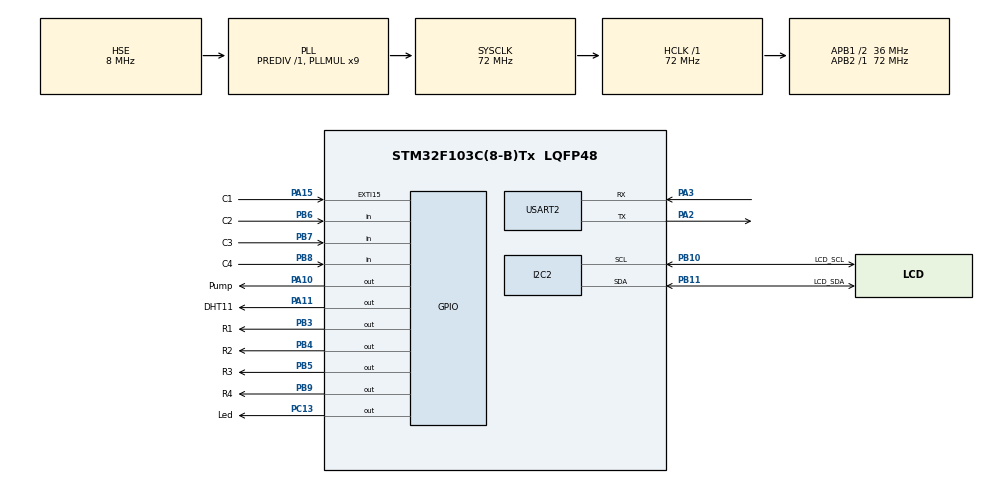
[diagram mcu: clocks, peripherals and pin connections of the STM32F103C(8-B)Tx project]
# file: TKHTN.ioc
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FREERTOS.BinarySemaphores01=TempHumid,Dynamic,NULL
FREERTOS.CountingSemaphores01=DataSem,2,Dynamic,NULL;ComSem,2,Dynamic,NULL
FREERTOS.Events01=Interrupt,Dynamic,NULL;pumpEvent,Dynamic,NULL
FREERTOS.Tasks01=sendCloud,16,256,sendCloudHandler,Default,NULL,Dynamic,NULL,NULL;ReadDataTaskHan,33,256,ReadDataTask,Default,NULL,Dynamic,NULL,NULL;DisplayTaskHand,16,256,DisplayTask,Default,NULL,Dynamic,NULL,NULL;HandleInterupt,40,512,HandleISP,Default,NULL,Dynamic,NULL,NULL;pumpControlHand,39,128,pumpControl,Default,NULL,Dynamic,NULL,NULL
FREERTOS.configTOTAL_HEAP_SIZE=8096
FREERTOS.configUSE_NEWLIB_REENTRANT=1
Mcu.Family=STM32F1
Mcu.Name=STM32F103C(8-B)Tx
Mcu.Package=LQFP48
NVIC.EXTI15_10_IRQn=true\:5\:0\:false\:false\:true\:true\:true\:true\:true
NVIC.PriorityGroup=NVIC_PRIORITYGROUP_4
NVIC.TIM3_IRQn=true\:15\:0\:false\:false\:true\:false\:false\:true\:true
NVIC.TimeBase=TIM3_IRQn
NVIC.TimeBaseIP=TIM3
PA10.GPIO_Label=Pump
PA10.Signal=GPIO_Output
PA11.GPIO_Label=DHT11
PA11.Signal=GPIO_Output
PA13.Mode=Serial_Wire
PA13.Signal=SYS_JTMS-SWDIO
PA14.Mode=Serial_Wire
PA14.Signal=SYS_JTCK-SWCLK
PA15.GPIO_Label=C1
PA15.GPIO_ModeDefaultEXTI=GPIO_MODE_IT_RISING
PA15.GPIO_PuPd=GPIO_PULLDOWN
PA15.Signal=GPXTI15
PA2.Mode=Asynchronous
PA2.Signal=USART2_TX
PA3.Mode=Asynchronous
PA3.Signal=USART2_RX
PB10.GPIO_Label=LCD_SCL
PB10.Mode=I2C
PB10.Signal=I2C2_SCL
PB11.GPIO_Label=LCD_SDA
PB11.Mode=I2C
PB11.Signal=I2C2_SDA
PB3.GPIO_Label=R1
PB3.GPIO_ModeDefaultOutputPP=GPIO_MODE_OUTPUT_PP
PB3.PinState=GPIO_PIN_SET
PB3.Signal=GPIO_Output
PB4.GPIO_Label=R2
PB4.PinState=GPIO_PIN_RESET
PB4.Signal=GPIO_Output
PB5.GPIO_Label=R3
PB5.Signal=GPIO_Output
PB6.GPIO_Label=C2
PB6.GPIO_PuPd=GPIO_PULLDOWN
PB6.Signal=GPIO_Input
PB7.GPIO_Label=C3
PB7.GPIO_PuPd=GPIO_PULLDOWN
PB7.Signal=GPIO_Input
PB8.GPIO_Label=C4
PB8.GPIO_PuPd=GPIO_PULLDOWN
PB8.Signal=GPIO_Input
PB9.GPIO_Label=R4
PB9.Signal=GPIO_Output
PC13-TAMPER-RTC.GPIO_Label=Led
PC13-TAMPER-RTC.Signal=GPIO_Output
PC14-OSC32_IN.Signal=RCC_OSC32_IN
PC15-OSC32_OUT.Signal=RCC_OSC32_OUT
PD0-OSC_IN.Mode=HSE-External-Oscillator
PD0-OSC_IN.Signal=RCC_OSC_IN
PD1-OSC_OUT.Mode=HSE-External-Oscillator
PD1-OSC_OUT.Signal=RCC_OSC_OUT
ProjectManager.HeapSize=0x200
ProjectManager.StackSize=0x400
ProjectManager.TargetToolchain=STM32CubeIDE
RCC.AHBFreq_Value=72000000
RCC.APB1CLKDivider=RCC_HCLK_DIV2
RCC.APB1Freq_Value=36000000
RCC.APB1TimFreq_Value=72000000
RCC.APB2Freq_Value=72000000
RCC.APB2TimFreq_Value=72000000
RCC.HCLKFreq_Value=72000000
RCC.PLLMUL=RCC_PLL_MUL9
RCC.PLLSourceVirtual=RCC_PLLSOURCE_HSE
RCC.SYSCLKFreq_VALUE=72000000
RCC.SYSCLKSource=RCC_SYSCLKSOURCE_PLLCLK
RCC.USBFreq_Value=72000000
TIM4.Prescaler=72-1
USART2.VirtualMode=VM_ASYNC
VP_FREERTOS_VS_CMSIS_V2.Mode=CMSIS_V2
VP_SYS_VS_tim3.Mode=TIM3
VP_TIM4_VS_ClockSourceINT.Mode=Internal
board=custom

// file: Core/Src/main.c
/* USER CODE BEGIN Header */
/**
  ******************************************************************************
  * @file           : main.c
  * @brief          : Main program body
  ******************************************************************************
  * @attention
  *
  * Copyright (c) 2024 STMicroelectronics.
  * All rights reserved.
  *
  * This software is licensed under terms that can be found in the LICENSE file
  * in the root directory of this software component.
  * If no LICENSE file comes with this software, it is provided AS-IS.
  *
  ******************************************************************************
  */
/* USER CODE END Header */
#include "main.h"
#include "cmsis_os.h"

/* USER CODE BEGIN Includes */
#include "CLCD_I2C.h"
#include "dht11.h"
#include<stdio.h>

/* USER CODE END Includes */

I2C_HandleTypeDef hi2c2;

TIM_HandleTypeDef htim4;

UART_HandleTypeDef huart2;

/* Definitions for sendCloud */
osThreadId_t sendCloudHandle;
const osThreadAttr_t sendCloud_attributes = {
  .name = "sendCloud",
  .stack_size = 256 * 4,
  .priority = (osPriority_t) osPriorityBelowNormal,
};
/* Definitions for ReadDataTaskHan */
osThreadId_t ReadDataTaskHanHandle;
const osThreadAttr_t ReadDataTaskHan_attributes = {
  .name = "ReadDataTaskHan",
  .stack_size = 256 * 4,
  .priority = (osPriority_t) osPriorityAboveNormal1,
};
/* Definitions for DisplayTaskHand */
osThreadId_t DisplayTaskHandHandle;
const osThreadAttr_t DisplayTaskHand_attributes = {
  .name = "DisplayTaskHand",
  .stack_size = 256 * 4,
  .priority = (osPriority_t) osPriorityBelowNormal,
};
/* Definitions for HandleInterupt */
osThreadId_t HandleInteruptHandle;
const osThreadAttr_t HandleInterupt_attributes = {
  .name = "HandleInterupt",
  .stack_size = 512 * 4,
  .priority = (osPriority_t) osPriorityHigh,
};
/* Definitions for pumpControlHand */
osThreadId_t pumpControlHandHandle;
const osThreadAttr_t pumpControlHand_attributes = {
  .name = "pumpControlHand",
  .stack_size = 128 * 4,
  .priority = (osPriority_t) osPriorityAboveNormal7,
};
/* Definitions for TempHumid */
osSemaphoreId_t TempHumidHandle;
const osSemaphoreAttr_t TempHumid_attributes = {
  .name = "TempHumid"
};
/* Definitions for DataSem */
osSemaphoreId_t DataSemHandle;
const osSemaphoreAttr_t DataSem_attributes = {
  .name = "DataSem"
};
/* Definitions for ComSem */
osSemaphoreId_t ComSemHandle;
const osSemaphoreAttr_t ComSem_attributes = {
  .name = "ComSem"
};
/* Definitions for Interrupt */
osEventFlagsId_t InterruptHandle;
const osEventFlagsAttr_t Interrupt_attributes = {
  .name = "Interrupt"
};
/* Definitions for pumpEvent */
osEventFlagsId_t pumpEventHandle;
const osEventFlagsAttr_t pumpEvent_attributes = {
  .name = "pumpEvent"
};

void SystemClock_Config(void);
static void MX_GPIO_Init(void);
static void MX_I2C2_Init(void);
static void MX_TIM4_Init(void);
static void MX_USART2_UART_Init(void);
void sendCloudHandler(void *argument);
void ReadDataTask(void *argument);
void DisplayTask(void *argument);
void HandleISP(void *argument);
void pumpControl(void *argument);

/* USER CODE BEGIN PFP */
uint8_t readbutton1();
uint8_t readbutton2();
uint8_t readbutton3();
void sendTerminal(char* mess,uint8_t length);

CLCD_I2C_Name LCD1;

//HT_Name DHT1;
DHT11_Sensor dht;

float temp  = 0.00;
float humid = 0.00;
uint32_t T1 = 1000;
uint32_t T2 = 500;
uint32_t T3 = 200;

#define 	PERIOD_1 			1000
#define 	PERIOD_2 			5000
#define 	PERIOD_3 			10000

#define 	timeInterrupt  		3000

#define 	HUMIDITY_SET		80.0
#define		HUMIDITY_MIN		15.0

#define 	waterWaitingPeriod	10000
//uint32_t pressBTtime = 0;
/* USER CODE END PFP */

/* USER CODE BEGIN 0 */
void HAL_GPIO_EXTI_Callback(uint16_t GPIO_Pin)
{
  /* Prevent unused argument(s) compilation warning */
  UNUSED(GPIO_Pin);
  if(GPIO_Pin == C1_Pin){
	  for(int i=0;i<1000000;i++);
	  __HAL_GPIO_EXTI_GET_IT(C1_Pin);
	  HAL_NVIC_GetPendingIRQ(EXTI15_10_IRQn);
	  osEventFlagsSet(InterruptHandle, 1);
  }
  /* NOTE: This function Should not be modified, when the callback is needed,
           the HAL_GPIO_EXTI_Callback could be implemented in the user file
   */
}
/* USER CODE END 0 */

int main(void)
{

  /* MCU Configuration--------------------------------------------------------*/

  /* Reset of all peripherals, Initializes the Flash interface and the Systick. */
  HAL_Init();

  /* Configure the system clock */
  SystemClock_Config();

  /* Initialize all configured peripherals */
  MX_GPIO_Init();
  MX_I2C2_Init();
  MX_TIM4_Init();
  MX_USART2_UART_Init();
  /* USER CODE BEGIN 2 */
//  DHT11_Init(&dht,DHT11_GPIO_Port, DHT11_Pin, &htim4);
  DHT11_Init(&dht, DHT11_GPIO_Port,DHT11_Pin,&htim4);
  CLCD_I2C_Init(&LCD1, &hi2c2, 0x4e,20,4);

  /* USER CODE END 2 */

  /* Init scheduler */
  osKernelInitialize();

  /* Create the semaphores(s) */
  /* creation of TempHumid */
  TempHumidHandle = osSemaphoreNew(1, 0, &TempHumid_attributes);

  /* creation of DataSem */
  DataSemHandle = osSemaphoreNew(2, 2, &DataSem_attributes);

  /* creation of ComSem */
  ComSemHandle = osSemaphoreNew(2, 2, &ComSem_attributes);

  /* Create the thread(s) */
  /* creation of sendCloud */
  sendCloudHandle = osThreadNew(sendCloudHandler, NULL, &sendCloud_attributes);

  /* creation of ReadDataTaskHan */
  ReadDataTaskHanHandle = osThreadNew(ReadDataTask, NULL, &ReadDataTaskHan_attributes);

  /* creation of DisplayTaskHand */
  DisplayTaskHandHandle = osThreadNew(DisplayTask, NULL, &DisplayTaskHand_attributes);

  /* creation of HandleInterupt */
  HandleInteruptHandle = osThreadNew(HandleISP, NULL, &HandleInterupt_attributes);

  /* creation of pumpControlHand */
  pumpControlHandHandle = osThreadNew(pumpControl, NULL, &pumpControlHand_attributes);

  /* Create the event(s) */
  /* creation of Interrupt */
  InterruptHandle = osEventFlagsNew(&Interrupt_attributes);

  /* creation of pumpEvent */
  pumpEventHandle = osEventFlagsNew(&pumpEvent_attributes);

  /* USER CODE BEGIN RTOS_EVENTS */
  osSemaphoreRelease(TempHumidHandle);
  /* USER CODE END RTOS_EVENTS */

  /* Start scheduler */
  osKernelStart();

  /* We should never get here as control is now taken by the scheduler */

  /* Infinite loop */
  while (1)
  {

  }
}

void SystemClock_Config(void)
{
  RCC_OscInitTypeDef RCC_OscInitStruct = {0};
  RCC_ClkInitTypeDef RCC_ClkInitStruct = {0};

  /** Initializes the RCC Oscillators according to the specified parameters
  * in the RCC_OscInitTypeDef structure.
  */
  RCC_OscInitStruct.OscillatorType = RCC_OSCILLATORTYPE_HSE;
  RCC_OscInitStruct.HSEState = RCC_HSE_ON;
  RCC_OscInitStruct.HSEPredivValue = RCC_HSE_PREDIV_DIV1;
  RCC_OscInitStruct.HSIState = RCC_HSI_ON;
  RCC_OscInitStruct.PLL.PLLState = RCC_PLL_ON;
  RCC_OscInitStruct.PLL.PLLSource = RCC_PLLSOURCE_HSE;
  RCC_OscInitStruct.PLL.PLLMUL = RCC_PLL_MUL9;
  if (HAL_RCC_OscConfig(&RCC_OscInitStruct) != HAL_OK)
  {
    Error_Handler();
  }

  /** Initializes the CPU, AHB and APB buses clocks
  */
  RCC_ClkInitStruct.ClockType = RCC_CLOCKTYPE_HCLK|RCC_CLOCKTYPE_SYSCLK
                              |RCC_CLOCKTYPE_PCLK1|RCC_CLOCKTYPE_PCLK2;
  RCC_ClkInitStruct.SYSCLKSource = RCC_SYSCLKSOURCE_PLLCLK;
  RCC_ClkInitStruct.AHBCLKDivider = RCC_SYSCLK_DIV1;
  RCC_ClkInitStruct.APB1CLKDivider = RCC_HCLK_DIV2;
  RCC_ClkInitStruct.APB2CLKDivider = RCC_HCLK_DIV1;

  if (HAL_RCC_ClockConfig(&RCC_ClkInitStruct, FLASH_LATENCY_2) != HAL_OK)
  {
    Error_Handler();
  }
}

static void MX_I2C2_Init(void)
{

  hi2c2.Instance = I2C2;
  hi2c2.Init.ClockSpeed = 100000;
  hi2c2.Init.DutyCycle = I2C_DUTYCYCLE_2;
  hi2c2.Init.OwnAddress1 = 0;
  hi2c2.Init.AddressingMode = I2C_ADDRESSINGMODE_7BIT;
  hi2c2.Init.DualAddressMode = I2C_DUALADDRESS_DISABLE;
  hi2c2.Init.OwnAddress2 = 0;
  hi2c2.Init.GeneralCallMode = I2C_GENERALCALL_DISABLE;
  hi2c2.Init.NoStretchMode = I2C_NOSTRETCH_DISABLE;
  if (HAL_I2C_Init(&hi2c2) != HAL_OK)
  {
    Error_Handler();
  }

}

static void MX_TIM4_Init(void)
{

  TIM_ClockConfigTypeDef sClockSourceConfig = {0};
  TIM_MasterConfigTypeDef sMasterConfig = {0};

  htim4.Instance = TIM4;
  htim4.Init.Prescaler = 72-1;
  htim4.Init.CounterMode = TIM_COUNTERMODE_UP;
  htim4.Init.Period = 65535;
  htim4.Init.ClockDivision = TIM_CLOCKDIVISION_DIV1;
  htim4.Init.AutoReloadPreload = TIM_AUTORELOAD_PRELOAD_DISABLE;
  if (HAL_TIM_Base_Init(&htim4) != HAL_OK)
  {
    Error_Handler();
  }
  sClockSourceConfig.ClockSource = TIM_CLOCKSOURCE_INTERNAL;
  if (HAL_TIM_ConfigClockSource(&htim4, &sClockSourceConfig) != HAL_OK)
  {
    Error_Handler();
  }
  sMasterConfig.MasterOutputTrigger = TIM_TRGO_RESET;
  sMasterConfig.MasterSlaveMode = TIM_MASTERSLAVEMODE_DISABLE;
  if (HAL_TIMEx_MasterConfigSynchronization(&htim4, &sMasterConfig) != HAL_OK)
  {
    Error_Handler();
  }

}

static void MX_USART2_UART_Init(void)
{

  huart2.Instance = USART2;
  huart2.Init.BaudRate = 115200;
  huart2.Init.WordLength = UART_WORDLENGTH_8B;
  huart2.Init.StopBits = UART_STOPBITS_1;
  huart2.Init.Parity = UART_PARITY_NONE;
  huart2.Init.Mode = UART_MODE_TX_RX;
  huart2.Init.HwFlowCtl = UART_HWCONTROL_NONE;
  huart2.Init.OverSampling = UART_OVERSAMPLING_16;
  if (HAL_UART_Init(&huart2) != HAL_OK)
  {
    Error_Handler();
  }

}

static void MX_GPIO_Init(void)
{
  GPIO_InitTypeDef GPIO_InitStruct = {0};

  /* GPIO Ports Clock Enable */
  __HAL_RCC_GPIOC_CLK_ENABLE();
  __HAL_RCC_GPIOD_CLK_ENABLE();
  __HAL_RCC_GPIOA_CLK_ENABLE();
  __HAL_RCC_GPIOB_CLK_ENABLE();

  /*Configure GPIO pin Output Level */
  HAL_GPIO_WritePin(Led_GPIO_Port, Led_Pin, GPIO_PIN_RESET);

  /*Configure GPIO pin Output Level */
  HAL_GPIO_WritePin(GPIOA, Pump_Pin|DHT11_Pin, GPIO_PIN_RESET);

  /*Configure GPIO pin Output Level */
  HAL_GPIO_WritePin(R1_GPIO_Port, R1_Pin, GPIO_PIN_SET);

  /*Configure GPIO pin Output Level */
  HAL_GPIO_WritePin(GPIOB, R2_Pin|R3_Pin|R4_Pin, GPIO_PIN_RESET);

  /*Configure GPIO pin : Led_Pin */
  GPIO_InitStruct.Pin = Led_Pin;
  GPIO_InitStruct.Mode = GPIO_MODE_OUTPUT_PP;
  GPIO_InitStruct.Pull = GPIO_NOPULL;
  GPIO_InitStruct.Speed = GPIO_SPEED_FREQ_LOW;
  HAL_GPIO_Init(Led_GPIO_Port, &GPIO_InitStruct);

  /*Configure GPIO pins : Pump_Pin DHT11_Pin */
  GPIO_InitStruct.Pin = Pump_Pin|DHT11_Pin;
  GPIO_InitStruct.Mode = GPIO_MODE_OUTPUT_PP;
  GPIO_InitStruct.Pull = GPIO_NOPULL;
  GPIO_InitStruct.Speed = GPIO_SPEED_FREQ_LOW;
  HAL_GPIO_Init(GPIOA, &GPIO_InitStruct);

  /*Configure GPIO pin : C1_Pin */
  GPIO_InitStruct.Pin = C1_Pin;
  GPIO_InitStruct.Mode = GPIO_MODE_IT_RISING;
  GPIO_InitStruct.Pull = GPIO_PULLDOWN;
  HAL_GPIO_Init(C1_GPIO_Port, &GPIO_InitStruct);

  /*Configure GPIO pins : R1_Pin R2_Pin R3_Pin R4_Pin */
  GPIO_InitStruct.Pin = R1_Pin|R2_Pin|R3_Pin|R4_Pin;
  GPIO_InitStruct.Mode = GPIO_MODE_OUTPUT_PP;
  GPIO_InitStruct.Pull = GPIO_NOPULL;
  GPIO_InitStruct.Speed = GPIO_SPEED_FREQ_LOW;
  HAL_GPIO_Init(GPIOB, &GPIO_InitStruct);

  /*Configure GPIO pins : C2_Pin C3_Pin C4_Pin */
  GPIO_InitStruct.Pin = C2_Pin|C3_Pin|C4_Pin;
  GPIO_InitStruct.Mode = GPIO_MODE_INPUT;
  GPIO_InitStruct.Pull = GPIO_PULLDOWN;
  HAL_GPIO_Init(GPIOB, &GPIO_InitStruct);

  /* EXTI interrupt init*/
  HAL_NVIC_SetPriority(EXTI15_10_IRQn, 5, 0);
  HAL_NVIC_EnableIRQ(EXTI15_10_IRQn);

}

/* USER CODE BEGIN 4 */
uint8_t readbutton1()
{
  return HAL_GPIO_ReadPin(GPIOB,GPIO_PIN_6);
}
uint8_t readbutton2()
{
  return HAL_GPIO_ReadPin(GPIOB,GPIO_PIN_7);
}
uint8_t readbutton3()
{
  return HAL_GPIO_ReadPin(GPIOB,GPIO_PIN_8);
}

void sendTerminal(char* mess,uint8_t length){
	HAL_UART_Transmit(&huart2, (uint8_t*)mess, length, 1000);
}
/* USER CODE END 4 */

void sendCloudHandler(void *argument)
{
  /* USER CODE BEGIN 5 */
	char Temp[10];
  /* Infinite loop */
  for(;;)
  {
//	  sendTerminal("Task sendCloud acquire semaphore\n",strlen("Task sendCloud acquire semaphore\n"));
	  osSemaphoreAcquire(TempHumidHandle, osWaitForever);
//	  sendTerminal("Task sendCloud take semaphore\n",strlen("Task sendCloud take semaphore\n"));
	  sprintf(Temp, "%.2f,%.2f\n",temp,humid);
	  HAL_UART_Transmit(&huart2, (uint8_t*)Temp, strlen(Temp), 1000);
//	  sendTerminal("Task sendCloud complete\n",strlen("Task sendCloud complete\n"));
	  osSemaphoreRelease(TempHumidHandle);
//	  sendTerminal("Task sendCloud release semaphore\n",strlen("Task sendCloud release semaphore\n"));
	  osDelay(T1);
  }
  /* USER CODE END 5 */
}

void ReadDataTask(void *argument)
{
  /* USER CODE BEGIN ReadDataTask */
	DHT11_Status dhtStatus;
  /* Infinite loop */
  for(;;)
  {
//	  sendTerminal("Task readData acquire semaphore\n",strlen("Task readData acquire semaphore\n"));
	  osSemaphoreAcquire(TempHumidHandle, osWaitForever);
//	  sendTerminal("Task readData take semaphore\n",strlen("Task readData take semaphore\n"));
	  dhtStatus = DHT11_GetData(&dht);
	  temp = dht.Temp;
	  humid = dht.Humi;
	  if(humid < HUMIDITY_MIN){
		  osEventFlagsSet(pumpEventHandle, 1);
	  }
//	  sendTerminal("Task readData complete\n",strlen("Task readData complete\n"));
	  osSemaphoreRelease(TempHumidHandle);
//	  sendTerminal("Task readData release semaphore\n",strlen("Task readData release semaphore\n"));
	  osDelay(T1);
  }
  /* USER CODE END ReadDataTask */
}

void DisplayTask(void *argument)
{
  /* USER CODE BEGIN DisplayTask */

	char temperature[16], humidity[16];
  /* Infinite loop */
  for(;;)
  {
//	  sendTerminal("Task display acquire semaphore\n",strlen("Task display acquire semaphore\n"));
	  osSemaphoreAcquire(TempHumidHandle, osWaitForever);
//	  sendTerminal("Task display take semaphore\n",strlen("Task display take semaphore\n"));
	  sprintf(temperature, "Temp: %.2f",temp);
	  sprintf(humidity, "Humid: %.2f", humid);
	  CLCD_I2C_Clear(&LCD1);
	  CLCD_I2C_SetCursor(&LCD1,0,0);
	  CLCD_I2C_WriteString(&LCD1,temperature);
	  CLCD_I2C_SetCursor(&LCD1,0,1);
	  CLCD_I2C_WriteString(&LCD1,humidity);
//	  sendTerminal("Task display complete\n",strlen("Task display complete\n"));
	  osSemaphoreRelease(TempHumidHandle);
//	  sendTerminal("Task display release semaphore\n",strlen("Task display release semaphore\n"));
	  osDelay(T1);
  }
  /* USER CODE END DisplayTask */
}

void HandleISP(void *argument)
{
  /* USER CODE BEGIN HandleISP */

  /* Infinite loop */
	for(;;)
	{
		osEventFlagsWait(InterruptHandle,1,osFlagsWaitAll,osWaitForever);
//		sendTerminal("Start Interrupt\n",strlen("Start Interrupt\n"));
		osThreadSuspend(ReadDataTaskHanHandle);
		CLCD_I2C_Clear(&LCD1);
		CLCD_I2C_SetCursor(&LCD1,0,0);
		CLCD_I2C_WriteString(&LCD1,"Select Mode");
		CLCD_I2C_SetCursor(&LCD1,0,1);
		CLCD_I2C_WriteString(&LCD1,"Sampling cycle");
		uint32_t tickstart = osKernelGetTickCount();
		uint8_t haveValue = 0;

		while(((osKernelGetTickCount() - tickstart) < timeInterrupt)&&haveValue==0)
		{
	        if(readbutton1())
	        {
	          T1 = PERIOD_1;
//	          sendTerminal("Change the period of read data to 5s\n",strlen("Change the period of read data to 5s\n"));
	          CLCD_I2C_Clear(&LCD1);
	          CLCD_I2C_SetCursor(&LCD1,0,0);
	          CLCD_I2C_WriteString(&LCD1,"Cycle  1s");
	          haveValue = 1;
	        }
	        else if(readbutton2())
	        {
	          T1 = PERIOD_2;
//	          sendTerminal("Change the period of read data to 5s\n",strlen("Change the period of read data to 5s\n"));
	          CLCD_I2C_Clear(&LCD1);
	          CLCD_I2C_SetCursor(&LCD1,0,0);
	          CLCD_I2C_WriteString(&LCD1,"Cycle  5s");
	          haveValue = 1;
	        }
	        else if(readbutton3())
	        {
	          T1 = PERIOD_3;
//	          sendTerminal("Change the period of read data to 10s\n",strlen("Change the period of read data to 10s\n"));
	          CLCD_I2C_Clear(&LCD1);
	          CLCD_I2C_SetCursor(&LCD1,0,0);
	          CLCD_I2C_WriteString(&LCD1,"Cycle 10s");
	          haveValue = 1;
	        }
		}
		osThreadResume(ReadDataTaskHanHandle);
	    osDelay(100);

  }
  /* USER CODE END HandleISP */
}

void pumpControl(void *argument)
{
  /* USER CODE BEGIN pumpControl */
  /* Infinite loop */
  for(;;)
  {
	  osEventFlagsWait(pumpEventHandle,1,osFlagsWaitAll,waterWaitingPeriod);
//	  sendTerminal("Start water\n",strlen("Start water\n"));
	  HAL_GPIO_WritePin(Pump_GPIO_Port, Pump_Pin, 1);
	  osDelay(5000);
//	  sendTerminal("Stop water\n",strlen("Stop water\n"));
	  HAL_GPIO_WritePin(Pump_GPIO_Port, Pump_Pin, 0);
	  osEventFlagsClear(pumpControlHandHandle, 1);

  }
  /* USER CODE END pumpControl */
}

void HAL_TIM_PeriodElapsedCallback(TIM_HandleTypeDef *htim)
{
  if (htim->Instance == TIM3) {
    HAL_IncTick();
  }
}

void Error_Handler(void)
{
  __disable_irq();
  while (1)
  {
  }
}
